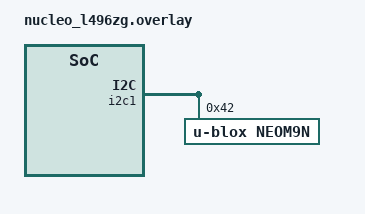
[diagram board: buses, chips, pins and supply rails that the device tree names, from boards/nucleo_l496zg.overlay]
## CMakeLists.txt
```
# SPDX-License-Identifier: Apache-2.0
cmake_minimum_required(VERSION 3.20.0)
find_package(Zephyr REQUIRED HINTS $ENV{ZEPHYR_BASE})

set(ZEPHYR_EXTRA_MODULES
    ${CMAKE_SOURCE_DIR}/../../nrf-sdk/subsys
    ${CMAKE_SOURCE_DIR}/../../nrf-sdk/drivers
)

project(tracker)

include_directories(include)

add_subdirectory(src)
```

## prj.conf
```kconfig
CONFIG_DEBUG=y
CONFIG_CBPRINTF_FP_SUPPORT=y
CONFIG_NEWLIB_LIBC=y
CONFIG_NEWLIB_LIBC_FLOAT_PRINTF=y



# Enable logging over RTT
CONFIG_LOG=y
CONFIG_LOG_CMDS=y
CONFIG_SHELL_LOG_BACKEND=y
CONFIG_SHELL_RTT_INIT_LOG_LEVEL_DBG=y

# Enable shell over RTT
CONFIG_SHELL=y
CONFIG_SHELL_BACKENDS=y
CONFIG_SHELL_TAB=y
CONFIG_USE_SEGGER_RTT=y
CONFIG_SHELL_BACKEND_RTT=y
CONFIG_RTT_CONSOLE=y
CONFIG_UART_CONSOLE=n   
CONFIG_SHELL_LOG_BACKEND=y
CONFIG_SHELL_RTT_INIT_LOG_LEVEL_DBG=y

# RTT configuration
CONFIG_SEGGER_RTT_BUFFER_SIZE_UP=4096
CONFIG_SHELL_BACKEND_SERIAL_RX_RING_BUFFER_SIZE=4096

#################
# Communication configuration
#################
CONFIG_I2C=y

#################
# GNSS configuration
#################
CONFIG_GNSS=y

CONFIG_UBLOX_NEO_M9N=y

#################
# Sensor config 
#################
CONFIG_SENSOR=y
CONFIG_LPS22HB=y
#CONFIG_HTS221=y
CONFIG_CCS811=y
CONFIG_LIS2DH=y
CONFIG_LIS2DH_TRIGGER_GLOBAL_THREAD=y
#################
# DEBUG Config
#################
CONFIG_DEBUG=y
CONFIG_DEBUG_INFO=y
CONFIG_HEAP_MEM_POOL_SIZE=2048

#################
# Counter config 
#################
CONFIG_GPIO=y
CONFIG_COUNTER=y

#################
# Flash config
#################
CONFIG_MAIN_STACK_SIZE=8192

CONFIG_FLASH=y 
CONFIG_FLASH_MAP=y

#################
# Power Mgmt
#################
CONFIG_PM_DEVICE=y
CONFIG_GPIO=y
CONFIG_CRC=y
CONFIG_POWEROFF=y
CONFIG_HWINFO=y




# Enable Bluetooth and controller support

#################
# Enable Bluetooth
#################
CONFIG_BT=y
CONFIG_BT_PERIPHERAL=y
CONFIG_BT_HCI=y
CONFIG_BT_DEVICE_NAME="TrackerNode"
CONFIG_BT_BUF_ACL_RX_SIZE=200
CONFIG_BT_BUF_ACL_TX_SIZE=200
CONFIG_BT_L2CAP_TX_MTU= 71

CONFIG_SYSTEM_WORKQUEUE_STACK_SIZE=2048

#################
# Enable SHA 256 hash usage
#################
CONFIG_CRYPTO=y
CONFIG_TINYCRYPT=y
CONFIG_TINYCRYPT_SHA256=y
```

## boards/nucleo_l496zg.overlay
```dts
&i2c1 {
    status = "okay";

    neom9n: neom9n@42 {
        status = "okay";
        compatible = "u-blox,neom9n";
        label = "NEOM9N";
        reg = <0x42>;
    };
};
```

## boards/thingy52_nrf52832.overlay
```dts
/ {
    aliases {
        rtc2 = &rtc2;
        temp = &hts221;
        pressure = &lps22hb_press;
        gas = &ccs811;
        accel0 = &lis2dh12;
    };
};

&rtc2 {
    label = "RTC_2";
    status = "okay";
    prescaler = <1>;
};

&sx1509b {
    status = "okay";
};

&i2c1 {
    status = "okay";
    compatible = "nordic,nrf-twim";
    neom9n: neom9n@42 {
        status = "okay";
        compatible = "u-blox,neom9n";
        label = "NEOM9N";
        reg = <0x42>;
    };
};
```

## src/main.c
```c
#include <zephyr/device.h>
#include <zephyr/logging/log.h>
#include <zephyr/drivers/sensor.h>
#include <stdio.h>

#include <zephyr/sys/util.h>
#include <zephyr/data/json.h>
#include <stdlib.h>
#include <zephyr/sys/printk.h>
#include <zephyr/drivers/flash.h>
#include <zephyr/storage/flash_map.h>
#include <zephyr/drivers/counter.h>
#include <zephyr/drivers/gpio.h>
#include <zephyr/sys/poweroff.h>
#include <zephyr/drivers/gpio/gpio_sx1509b.h>
#include <zephyr/pm/pm.h>
#include <drivers/gnss/ublox_neo_m9n.h>
#include <zephyr/drivers/hwinfo.h>
#include <zephyr/pm/device.h>
#include <inttypes.h>
#include <zephyr/drivers/i2c.h>
#include <zephyr/drivers/comparator.h>
#include <zephyr/drivers/timer/nrf_grtc_timer.h>

#include <flash.h>
#include <bluetooth.h>
#include <sensors.h>
#include <led.h>
#include <rtc.h>

#define SAMPLE_RATE 500

LOG_MODULE_REGISTER(tracker, LOG_LEVEL_INF);

/*
* Read sensor data out of flash and send it over the established bluetooth connection.
*/
void read_loop(const struct device *flash_dev, uint8_t write_block_size) {

    struct flash_consts flash_vars;
    flash_read(flash_dev, TEST_PARTITION_OFFSET, &flash_vars, sizeof(struct flash_consts));
    struct sensor_blk sensors;
    for (int i = flash_vars.read_size; i < flash_vars.size; i++) {
        flash_read_sensor(flash_dev, write_block_size,  &flash_vars, &sensors);
        // LOG_INF("Read: temp: %u   press: %u    hum: %u    gas: %u    x_accel: %d    y_accel: %d    z_accel: %d", 
        //         sensors.temp, sensors.press, sensors.hum, sensors.gas, sensors.x_accel, sensors.y_accel, sensors.z_accel);
        // LOG_INF("Read: time: %u   uptime: %u    lat: %f   lon: %f   alt: %f\n", 
        //         sensors.time, sensors.uptime, (double)sensors.lat, (double)sensors.lon, (double)sensors.alt);
        pack_sensor_data(&sensors);
    }
    write_consts(flash_dev, write_block_size, flash_vars.size, flash_vars.read_size, flash_vars.head, flash_vars.tail, flash_vars.wrap_around);
    return;
}


/*
* Gather the sensor data and pack it into flash, in a contigous loop, erasing oldest packed structs.
*/
void write_loop(const struct device *flash_dev, uint8_t write_block_size) {
    struct sensor_blk sensors;
    int sat;
    int err;
    uint8_t gnss_retry = 0;
    uint8_t sensor_retry = 0;

sensor_goto:
    k_msleep(200);
    err = read_sensors(&(sensors.temp), &(sensors.hum), &(sensors.press), &(sensors.gas), &(sensors.x_accel), &(sensors.y_accel), &(sensors.z_accel));
    if (err) {
        sensor_retry++;
        if (sensor_retry > 5) {
            LOG_WRN("Too many incorrect attempts at reading sensors.\n");
            sensors.temp = 0;
            sensors.hum = 0;
            sensors.press = 0;
            sensors.gas = 0;
            sensors.x_accel = 0;
            sensors.y_accel = 0;
            sensors.z_accel = 0;
        } else {
            goto sensor_goto;
        }
    }
    err = init_gnss();
gnss_goto:
    k_msleep(1000);
    err |= read_gnss(&(sensors.time), &(sensors.lat), &(sensors.ns), &(sensors.lon), &(sensors.ew), &(sensors.alt), &sat);
    if (err) {
        gnss_retry++;
        if (gnss_retry > 5) {
            // Attempted to gather data several times and was unsuccesful
            LOG_WRN("Too many incorrect attempts at reading gnss.\n");
            sensors.lat = 0;
            sensors.lon = 0;
            sensors.alt = 0;
            sensors.time = 0;
        } else {
            goto gnss_goto;
        }
    }
    sensors.uptime = k_uptime_seconds();
    flash_write_sensor(flash_dev, write_block_size, sensors);
    //LOG_INF("Write: temp: %u   press: %u    hum: %u    gas: %u    x_accel: %d    y_accel: %d    z_accel: %d", 
    //    sensors.temp, sensors.press, sensors.hum, sensors.gas, sensors.x_accel, sensors.y_accel, sensors.z_accel);
    //LOG_INF("Write: time: %u   uptime: %u    lat: %f   lon: %f   alt: %f", 
    //    sensors.time, sensors.uptime, (double)sensors.lat, (double)sensors.lon, (double)sensors.alt);
}

/*
* Initialise and bind all sensors, timers and GPIO devices.
*/
int init_all() {
    int err = 0;

    //const struct device *const cons = DEVICE_DT_GET(DT_CHOSEN(zephyr_console));

    /* BLUETOOTH ADDITIONS*/
    err = init_bluetooth();
    if (err) {
        printk("[TRACKER] Bluetooth init failed\n");
        return -EINVAL;
    }
    /*--------------------*/

    init_rtc();
    init_led();
    bind_sensors();
    err = init_sensors();
    if (err) {
        LOG_WRN("error setting up devices. Shutting down.\n");
        return err;
    }

   err = init_anymotion();
    if (err) {
        LOG_WRN("Failed to setup acceleration trigger!\n");
    }

    set_rtc_tick(1);
    return 0;
}

/*
* Main function loop, enters idle mode (low power) while waiting for interrupts.
*/
int main(void) {

    // Bind flash device.
    const struct device *const cons = DEVICE_DT_GET(DT_CHOSEN(zephyr_console));
    const struct device *flash_dev = TEST_PARTITION_DEVICE;
    struct flash_parameters flash_params;
    memcpy(&flash_params, flash_get_parameters(flash_dev), sizeof(flash_params));
    uint8_t write_block_size = flash_params.write_block_size;
     if (!device_is_ready(flash_dev)) {
		LOG_WRN("Internal storage device not ready\n");
        return EINVAL;
	}

    if (!device_is_ready(cons)) {
		LOG_WRN("%s: device not ready.\n", cons->name);
		return EINVAL;
	}

    int err = init_all();
    if (err) {
        LOG_WRN("Error in init, shutting down");
    }
    // Verify if the there is data in the flash.
    uint8_t buf = 0xFF; 
    flash_read(flash_dev, TEST_PARTITION_OFFSET, &(buf), sizeof(buf));
    LOG_INF("BUFFER %u", buf);
    if (buf == 0xFF) {
        // Flash consts have not been written yet.
        write_init_consts(flash_dev, write_block_size);
    }

   k_msleep(1500);
    while(1) {  
        // Loop occurs on every wakeup from idle or after every occurance
        if (get_rtc_tick()) {
            // Woke from rtc
            red_led();
            write_loop(flash_dev, write_block_size);
            set_rtc_tick(0);
            black_led();

             // Advertising started, ble_tick set on connection (in bluetooth.c file); accessible through get_ble_tick()
            start_advertising();
            //internally sleeps in stop advertising function
            k_msleep(3000);
            //Check that conncetion isn't established
            if (!get_ble_tick()){
                stop_advertising();
            }
        } else if (accel_tick) {
            // Woke from accel
            LOG_WRN("Rapid motion detected!");
            green_led();
            write_loop(flash_dev, write_block_size);
            accel_tick = 0 ;
            black_led();
        } 
        if (get_ble_tick()) {
            LOG_WRN("The bluetooth device has connected!");
            blue_led();
            read_loop(flash_dev, write_block_size);
            black_led();
             // Advertising started, ble_tick set on connection (in bluetooth.c file); accessible through get_ble_tick()
            stop_advertising_and_disconnect();
            /*--------------------*/

        }
        LOG_INF("Napping... zzz...");
        white_led_flash();
        while (!get_rtc_tick() && !accel_tick && !get_ble_tick()) {
            k_cpu_idle(); // truly idle CPU while waiting
        }
    }
}
```

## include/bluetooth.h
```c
#ifndef TRACKER_SERVICE_H
#define TRACKER_SERVICE_H

#include <zephyr/types.h>
#include <zephyr/kernel.h>
#include <zephyr/types.h>
#include <zephyr/sys/printk.h>
#include <zephyr/logging/log.h>
#include <zephyr/net_buf.h>
#include <zephyr/bluetooth/bluetooth.h>
#include <zephyr/bluetooth/conn.h>
#include <zephyr/bluetooth/gatt.h>
#include <zephyr/bluetooth/hci.h>

#include <tinycrypt/sha256.h>
#include <tinycrypt/constants.h>
#include <string.h>

#include <sensors.h>


#define TRACKER_CONTROL_STACK_SIZE 2048
#define TRACKER_CONTROL_PRIORITY 5


extern uint8_t get_ble_tick(void);

extern void set_ble_tick(uint8_t value);

extern void pack_sensor_data(const struct sensor_blk *sensor);

extern int init_bluetooth(void);

extern int start_advertising(void);

extern int stop_advertising(void);

extern int stop_advertising_and_disconnect();

extern void tracker_thread(void);

#endif // TRACKER_SERVICE_H
```

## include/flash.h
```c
#ifndef TRACKER_FLASH_H
#define TRACKER_FLASH_H

#include <zephyr/kernel.h>
#include <zephyr/device.h>
#include <zephyr/logging/log.h>
#include <zephyr/drivers/flash.h>
#include <zephyr/storage/flash_map.h>

#include <sensors.h>

#define TEST_PARTITION	storage_partition
#define TEST_PARTITION_OFFSET FIXED_PARTITION_OFFSET(TEST_PARTITION)
#define TEST_PARTITION_DEVICE FIXED_PARTITION_DEVICE(TEST_PARTITION)

#define FLASH_PAGE_SIZE   4096

struct flash_consts {
    uint32_t size;
    uint32_t read_size;
    uint32_t tail;
    uint32_t head;
    uint8_t wrap_around;
};


struct sensor_blk {
    uint32_t time;
    uint32_t uptime;
    float lat;
    float lon;
    float alt;
    int16_t temp;
    int16_t hum;
    int16_t press;
    int16_t gas;
    int16_t x_accel; 
    int16_t y_accel;
    int16_t z_accel;
    char ns;
    char ew; 
    char padding[28];
};

void write_init_consts(const struct device *flash_dev, uint8_t write_block_size);

void flash_write_sensor(const struct device *flash_dev, uint8_t write_block_size, struct sensor_blk sensors);

void write_consts(const struct device *flash_dev, uint8_t write_block_size, 
    uint32_t size, uint32_t read_size, uint32_t head, uint32_t tail, uint8_t wrap_around);

void flash_read_sensor(const struct device *flash_dev, uint8_t write_block_size,
     struct flash_consts *flash_vars, struct sensor_blk *sensors);
     
#endif
```

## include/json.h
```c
#ifndef JSON_H_
#define JSON_H_

#define JSON_BUFFER_SIZE 352

static const char JSON_FORMAT[] =
"\"payload\":{"
    "\"timestamp\":\"%04d-%02d-%02dT%02d:%02d:%02d\","
    "\"uptime\":\"%u\","
    "\"location\":{"
	"\"latitude\":\"%.7f\","
	"\"ns\":\"%c\","
	"\"longitude\":\"%.7f\","
	"\"ew\":\"%c\","
	"\"altitude_m\":\"%.1f\""
    "},"
    "\"environment\":{"
	"\"temperature_c\":\"%.2f\","
	"\"humidity_percent\":\"%.2f\","
	"\"pressure_hpa\":\"%.1f\","
	"\"gas_ppm\":\"%.2f\""
    "},"
    "\"acceleration\":{"
	"\"x_mps2\":\"%.3f\","
	"\"y_mps2\":\"%.3f\","
	"\"z_mps2\":\"%.3f\""
    "}"
"}";

#endif
```

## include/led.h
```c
#ifndef TRACKER_LED_H
#define TRACKER_LED_H

#include <zephyr/kernel.h>
#include <zephyr/device.h>
#include <stdio.h>
#include <zephyr/drivers/gpio.h>
#include <zephyr/drivers/gpio/gpio_sx1509b.h>

#define LED_MAX 255
#define LED_OFF 0
#define NUMBER_OF_LEDS 3
#define RED_LED DT_GPIO_PIN(DT_NODELABEL(led0), gpios)
#define GREEN_LED DT_GPIO_PIN(DT_NODELABEL(led1), gpios)
#define BLUE_LED DT_GPIO_PIN(DT_NODELABEL(led2), gpios)

static const gpio_pin_t rgb_pins[] = {
	RED_LED,
	GREEN_LED,
	BLUE_LED,
};

void init_led(void);

void set_led(int red, int blue, int green);

void black_led(void);

void red_led(void);

void green_led(void);

void blue_led(void);

void white_led(void);

void white_led_flash(void);

#endif
```

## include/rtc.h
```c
#ifndef TRACKER_RTC_H
#define TRACKER_RTC_H

#include <zephyr/kernel.h>
#include <zephyr/device.h>
#include <stdio.h>
#include <stdlib.h>
#include <zephyr/drivers/counter.h>
#include <zephyr/drivers/gpio.h>


#define ALARM_CHANNEL_ID 0
#define UPDATE 30

uint8_t get_rtc_tick(void);

void set_rtc_tick(int set);

void rtc_interrupt(const struct device *dev, void *user_data);

void init_rtc(void);

#endif
```

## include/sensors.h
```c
#ifndef TRACKER_SENSORS_H
#define TRACKER_SENSORS_H

#include <zephyr/kernel.h>
#include <zephyr/device.h>
#include <zephyr/drivers/sensor.h>
#include <stdio.h>

#include <zephyr/sys/util.h>
#include <stdlib.h>
#include <zephyr/drivers/gpio.h>
#include <zephyr/drivers/gpio/gpio_sx1509b.h>
#include <drivers/gnss/ublox_neo_m9n.h>
#include <zephyr/drivers/hwinfo.h>
#include <inttypes.h>
#include <zephyr/drivers/i2c.h>
#include <zephyr/drivers/comparator.h>
#include <zephyr/drivers/timer/nrf_grtc_timer.h>
#include <flash.h>

#define X_THRESHOLD 2
#define Y_THRESHOLD 2
#define Z_THRESHOLD 10
#define LIS2DH12_NODE DT_NODELABEL(lis2dh12)
#define NEO_SERIAL DT_NODELABEL(neom9n)


extern const struct device *neo_dev;
extern const struct device *pressure;
extern const struct device *humidity;
extern const struct device *evoc;
extern const struct device *accel;

extern uint8_t accel_tick;

// uint8_t get_accel_tick(void);

// void set_accel_tick(int set);

void bind_sensors(void);


int init_anymotion(void);

int init_gnss(void);

int read_gnss(uint32_t *time, 
    float* lat, char *ns, float *lon, char *ew, float *alt, int *sat);

int init_sensors(void);

int read_sensors(int16_t *temp, int16_t *hum, int16_t *press, 
    int16_t *gas, int16_t *x_accel, int16_t *y_accel, int16_t *z_accel);

#endif
```

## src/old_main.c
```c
#include <zephyr/kernel.h>
#include <zephyr/device.h>
#include <zephyr/logging/log.h>

#include <drivers/gnss/ublox_neo_m9n.h>

LOG_MODULE_DECLARE(neom9n, CONFIG_UBLOX_NEO_M9N_LOG_LEVEL);

#define NEO_SERIAL DT_NODELABEL(neom9n)

static const struct device *neo_dev;
static struct neom9n_api *neo_api;

int main(void)
{
    int rc;
    struct time neotime;
    float lat;
    char ns;
    float lon;
    char ew;
    float alt;
    int sat;
    int i = 0;

    neo_dev = DEVICE_DT_GET(NEO_SERIAL);

    if (!device_is_ready(neo_dev)) {
        LOG_ERR("%s Device not ready", neo_dev->name);
        return 0;
    }

    const struct neom9n_config *cfg = neo_dev->config;

    LOG_DBG("%s", cfg->i2c_dev->name);

    neo_api = (struct neom9n_api *) neo_dev->api;

    neo_api->cfg_nav5(neo_dev, Stationary, P_2D, 0, 1, 5, 100, 100, 100, 350, 0, 60, 0, 0, 0,
              AutoUTC);
    neo_api->cfg_gnss(neo_dev, 0, 32, 5, 0, 8, 16, 0, 0x01010001, 1, 1, 3, 0, 0x01010001, 3, 8,
              16, 0, 0x01010000, 5, 0, 3, 0, 0x01010001, 6, 8, 14, 0, 0x01010001);
    neo_api->cfg_msg(neo_dev, NMEA_DTM, 0);
    neo_api->cfg_msg(neo_dev, NMEA_GBQ, 0);
    neo_api->cfg_msg(neo_dev, NMEA_GBS, 0);
    neo_api->cfg_msg(neo_dev, NMEA_GLL, 0);
    neo_api->cfg_msg(neo_dev, NMEA_GLQ, 0);
    neo_api->cfg_msg(neo_dev, NMEA_GNQ, 0);
    neo_api->cfg_msg(neo_dev, NMEA_GNS, 0);
    neo_api->cfg_msg(neo_dev, NMEA_GPQ, 0);
    neo_api->cfg_msg(neo_dev, NMEA_GRS, 0);
    neo_api->cfg_msg(neo_dev, NMEA_GSA, 0);
    neo_api->cfg_msg(neo_dev, NMEA_GST, 0);
    neo_api->cfg_msg(neo_dev, NMEA_GSV, 0);
    neo_api->cfg_msg(neo_dev, NMEA_RMC, 0);
    neo_api->cfg_msg(neo_dev, NMEA_THS, 0);
    neo_api->cfg_msg(neo_dev, NMEA_TXT, 0);
    neo_api->cfg_msg(neo_dev, NMEA_VLW, 0);
    neo_api->cfg_msg(neo_dev, NMEA_VTG, 0);
    neo_api->cfg_msg(neo_dev, NMEA_ZDA, 0);

    while (1) {
        rc = neo_api->fetch_data(neo_dev);
        if (rc) {
            LOG_ERR("HERE: Error %d while reading data", rc);
            return 0;
        }

        if (i++ == 1000) {
            i = 0;

            neo_api->get_time(neo_dev, &neotime);
            neo_api->get_latitude(neo_dev, &lat);
            neo_api->get_ns(neo_dev, &ns);
            neo_api->get_longitude(neo_dev, &lon);
            neo_api->get_ew(neo_dev, &ew);
            neo_api->get_altitude(neo_dev, &alt);
            neo_api->get_satellites(neo_dev, &sat);

            LOG_INF("Hour: %d\n\r", neotime.hour);
            LOG_INF("Minute: %d\n\r", neotime.min);
            LOG_INF("Second: %d\n\r", neotime.sec);
            LOG_INF("Latitude: %.5f\n\r", (double) lat);
            LOG_INF("North/South: %c\n\r", ns);
            LOG_INF("Longitude: %.5f\n\r", (double) lon);
            LOG_INF("East/West: %c\n\r", ew);
            LOG_INF("Altitude: %.2f\n\r", (double) alt);
            LOG_INF("Satellites: %d\n\r\n\r", sat);
        }
    }
}
```

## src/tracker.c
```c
#include <zephyr/kernel.h>
#include <zephyr/device.h>
#include <zephyr/logging/log.h>
#include <zephyr/drivers/sensor.h>
#include <stdio.h>
#include <zephyr/sys/util.h>
#include <zephyr/data/json.h>
#include <stdlib.h>
#include <zephyr/sys/printk.h>
#include <zephyr/drivers/flash.h>
#include <zephyr/storage/flash_map.h>
#include <zephyr/drivers/counter.h>
#include <zephyr/drivers/gpio.h>
#include <zephyr/drivers/gpio/gpio_sx1509b.h>
#include <drivers/gnss/ublox_neo_m9n.h>
#include <zephyr/pm/pm.h>


#define MAX_SAMPLES 10
#define TEST_PARTITION	storage_partition
#define TEST_PARTITION_OFFSET FIXED_PARTITION_OFFSET(TEST_PARTITION)
#define TEST_PARTITION_DEVICE FIXED_PARTITION_DEVICE(TEST_PARTITION)

#define FLASH_PAGE_SIZE   4096

#define NEO_SERIAL DT_NODELABEL(neom9n)


#define LED_MAX 255
#define LED_OFF 0
#define NUMBER_OF_LEDS 3
#define GREEN_LED DT_GPIO_PIN(DT_NODELABEL(led0), gpios)
#define BLUE_LED DT_GPIO_PIN(DT_NODELABEL(led1), gpios)
#define RED_LED DT_GPIO_PIN(DT_NODELABEL(led2), gpios)

static const gpio_pin_t rgb_pins[] = {
	RED_LED,
	GREEN_LED,
	BLUE_LED,
};

const struct device *sx1509b_dev;

#define ALARM_CHANNEL_ID 0
#define UPDATE 20000// Update window (interrupts)
#define SAMPLE_RATE 1000 // Time between samples grabbed in a row while awake
LOG_MODULE_REGISTER(tracker, LOG_LEVEL_INF);

struct counter_top_cfg ctr_top;

const struct device *const rtc_2 = DEVICE_DT_GET(DT_ALIAS(rtc2));


struct sensor_blk {
    uint8_t hour;
    uint8_t minute;
    uint8_t second;
    float lat;
    char ns;
    float lon;
    char ew;
    float alt; 
    int sat;
    double temp;
    double hum;
    double press;
    double gas;
    double x_accel; 
    double y_accel;
    double z_accel;
};


static struct neom9n_api *neo_api;

const struct device *neo_dev;
const struct device *pressure;
const struct device *humidity;
const struct device *evoc;
const struct device *accel;

// TODO: set rtc_wakeup to 0 on ble interupt, ble wakeup to 1 on ble interrupt
// TODO: send data in read_loop over bluetooth. 
static int rtc_wakeup;
static int ble_wakeup;

void rtc_interrupt(const struct device *dev, void *user_data) {
    ARG_UNUSED(dev);
    ARG_UNUSED(user_data);
    rtc_wakeup = 1;
    ble_wakeup = 0;
}

void init_rtc(void) {
    ctr_top.ticks = counter_us_to_ticks(rtc_2, UPDATE);
    ctr_top.user_data = &ctr_top;
    ctr_top.callback = rtc_interrupt;
    ctr_top.flags = 0;
    counter_set_top_value(rtc_2, &ctr_top);
    counter_start(rtc_2);
}



/*
* Returns 0 if exited correctly
*/
int init_sensors(void) {

    

    if (!device_is_ready(pressure)) { 
        return -EINVAL;
    }
    if (!device_is_ready(humidity)) { 
        return -EINVAL;
    }
    if (!device_is_ready(evoc)) { 
        return -EINVAL;
    }
    if (!device_is_ready(accel)) { 
        return -EINVAL;
    }
    return 0;
}

int init_gnss(void) { 

    if (!device_is_ready(neo_dev)) {
        return -EINVAL;
    }
    neo_api = (struct neom9n_api *) neo_dev->api;

    neo_api->cfg_nav5(neo_dev, Stationary, P_2D, 0, 1, 5, 100, 100, 100, 350, 0, 60, 0, 0, 0,
              AutoUTC);
    neo_api->cfg_gnss(neo_dev, 0, 32, 5, 0, 8, 16, 0, 0x01010001, 1, 1, 3, 0, 0x01010001, 3, 8,
              16, 0, 0x01010000, 5, 0, 3, 0, 0x01010001, 6, 8, 14, 0, 0x01010001);
    neo_api->cfg_msg(neo_dev, NMEA_DTM, 0);
    neo_api->cfg_msg(neo_dev, NMEA_GBQ, 0);
    neo_api->cfg_msg(neo_dev, NMEA_GBS, 0);
    neo_api->cfg_msg(neo_dev, NMEA_GLL, 0);
    neo_api->cfg_msg(neo_dev, NMEA_GLQ, 0);
    neo_api->cfg_msg(neo_dev, NMEA_GNQ, 0);
    neo_api->cfg_msg(neo_dev, NMEA_GNS, 0);
    neo_api->cfg_msg(neo_dev, NMEA_GPQ, 0);
    neo_api->cfg_msg(neo_dev, NMEA_GRS, 0);
    neo_api->cfg_msg(neo_dev, NMEA_GSA, 0);
    neo_api->cfg_msg(neo_dev, NMEA_GST, 0);
    neo_api->cfg_msg(neo_dev, NMEA_GSV, 0);
    neo_api->cfg_msg(neo_dev, NMEA_RMC, 0);
    neo_api->cfg_msg(neo_dev, NMEA_THS, 0);
    neo_api->cfg_msg(neo_dev, NMEA_TXT, 0);
    neo_api->cfg_msg(neo_dev, NMEA_VLW, 0);
    neo_api->cfg_msg(neo_dev, NMEA_VTG, 0);
    neo_api->cfg_msg(neo_dev, NMEA_ZDA, 0);
    return 0;
}

void read_gnss(struct time *neotime, 
    float* lat, char *ns, float *lon, char *ew, float *alt, int *sat) {

            neo_api->get_time(neo_dev, neotime);
            neo_api->get_latitude(neo_dev, lat);
            neo_api->get_ns(neo_dev, ns);
            neo_api->get_longitude(neo_dev, lon);
            neo_api->get_ew(neo_dev, ew);
            neo_api->get_altitude(neo_dev, alt);
            neo_api->get_satellites(neo_dev, sat);
}

int read_sensors(double *temp, double *hum, double *press, 
    double *gas, double *x_accel, double *y_accel, double *z_accel) {
    
    struct sensor_value gas_raw;
    struct sensor_value temp_raw;
    struct sensor_value pressure_raw;
    struct sensor_value hum_raw;
    struct sensor_value x_raw;
    struct sensor_value y_raw;
    struct sensor_value z_raw;

    if (sensor_sample_fetch(humidity) < 0) {
        // Sample update error
        return -EIO;
    }
    if (sensor_sample_fetch(pressure) < 0) {
        // Sample update error
        return -EIO;
    }
    if (sensor_sample_fetch(evoc) < 0) {
        // Sample update error
        return -EIO;
    }
    if (sensor_sample_fetch(accel) < 0) {
        // Sample update error
        return -EIO;
    }

    if (sensor_channel_get(humidity, SENSOR_CHAN_HUMIDITY, &hum_raw) < 0) {
        // humidity channel reading error
        return -EIO;
    }
    if (sensor_channel_get(pressure, SENSOR_CHAN_PRESS, &pressure_raw) < 0) {
        // pressure channel reading error
        return -EIO;
    }
    if (sensor_channel_get(pressure, SENSOR_CHAN_AMBIENT_TEMP, &temp_raw) < 0) {
        // temperature channel reading error
        return -EIO;
    }
    if (sensor_channel_get(evoc, SENSOR_CHAN_VOC, &gas_raw) < 0) {
        // pressure channel reading error
        return -EIO;
    }

    if (sensor_channel_get(accel, SENSOR_CHAN_ACCEL_X, &x_raw) < 0 ||
        sensor_channel_get(accel, SENSOR_CHAN_ACCEL_Y, &y_raw) < 0 ||
        sensor_channel_get(accel, SENSOR_CHAN_ACCEL_Z, &z_raw) < 0) {
        return -EIO;
    }

    *x_accel = sensor_value_to_double(&x_raw);
    *y_accel = sensor_value_to_double(&y_raw);
    *z_accel = sensor_value_to_double(&z_raw);

    *hum = sensor_value_to_double(&hum_raw);
    *temp = sensor_value_to_double(&temp_raw);
    *press = sensor_value_to_double(&pressure_raw);
    *gas = sensor_value_to_double(&gas_raw);
}


void write_to_flash(const struct device *flash_dev, struct sensor_blk sensors, uint32_t size, off_t offset) { 
    flash_write(flash_dev, offset, &sensors, sizeof(sensors));
}


int read_loop(const struct device *flash_dev) {
    // Triggered from bluetooth wakeup
    uint32_t size = 0;
    uint32_t offset = 0 + sizeof(int);
    flash_read(flash_dev, 0, &size, sizeof(int));
    struct sensor_blk sensors;
    // Unpacks data since last bluetooth grab
    // Im blue dabadeebadubah
    sx1509b_led_intensity_pin_set(sx1509b_dev, RED_LED, LED_OFF);
    sx1509b_led_intensity_pin_set(sx1509b_dev, BLUE_LED, LED_MAX);
    sx1509b_led_intensity_pin_set(sx1509b_dev, GREEN_LED, LED_OFF);
    for (int i = 0; i < size; i++) {

        // read out single struct of data
        flash_read(flash_dev, offset, &sensors, sizeof(sensors));
        offset += sizeof(sensors);
        LOG_DBG("Sensor data read...");
        // TODO: send sensors struct over bluetooth
    }
    sx1509b_led_intensity_pin_set(sx1509b_dev, RED_LED, LED_OFF);
    sx1509b_led_intensity_pin_set(sx1509b_dev, BLUE_LED, LED_OFF);
    sx1509b_led_intensity_pin_set(sx1509b_dev, GREEN_LED, LED_OFF);
}


void write_loop(const struct device *flash_dev) {
    struct time neotime;
    int sat;
    struct sensor_blk sensors;
    uint32_t size = 0;
    flash_read(flash_dev, 0, &size, sizeof(int));
    uint32_t offset = sizeof(int) + ((size) * (sizeof(sensors)));
    // Im red like roses
    sx1509b_led_intensity_pin_set(sx1509b_dev, RED_LED, LED_MAX);
    sx1509b_led_intensity_pin_set(sx1509b_dev, BLUE_LED, LED_OFF);
    sx1509b_led_intensity_pin_set(sx1509b_dev, GREEN_LED, LED_OFF);
    for (int i = 0; i < MAX_SAMPLES; i++) {
        // Sleep for some time before grabbing more data
        k_msleep(SAMPLE_RATE);
        read_gnss(&neotime, &(sensors.lat), &(sensors.ns), &(sensors.lon), &(sensors.ew), &(sensors.alt), &sat);
        read_sensors(&(sensors.temp), &(sensors.hum), &(sensors.press), &(sensors.gas), &(sensors.x_accel), &(sensors.y_accel), &(sensors.z_accel));
        sensors.hour = neotime.hour;
        sensors.minute = neotime.minute;
        sensors.second = neotime.second;
        size++;
        write_to_flash(flash_dev, sensors, size, offset);
        offset += sizeof(sensors);
        LOG_DBG("Sensor data written");
    }
    flash_erase(flash_dev, 0, sizeof(size));
    flash_write(flash_dev, 0, &size, sizeof(size));
    sx1509b_led_intensity_pin_set(sx1509b_dev, RED_LED, LED_OFF);
    sx1509b_led_intensity_pin_set(sx1509b_dev, BLUE_LED, LED_OFF);
    sx1509b_led_intensity_pin_set(sx1509b_dev, GREEN_LED, LED_OFF);
    return;
}

void led_flash(int32_t time) {
    sx1509b_led_intensity_pin_set(sx1509b_dev, RED_LED, LED_MAX);
    sx1509b_led_intensity_pin_set(sx1509b_dev, BLUE_LED, LED_MAX);
    sx1509b_led_intensity_pin_set(sx1509b_dev, GREEN_LED, LED_MAX);
    k_msleep(time);
    sx1509b_led_intensity_pin_set(sx1509b_dev, RED_LED, LED_OFF);
    sx1509b_led_intensity_pin_set(sx1509b_dev, BLUE_LED, LED_OFF);
    sx1509b_led_intensity_pin_set(sx1509b_dev, GREEN_LED, LED_OFF);
}

int main(void) { 
    init_rtc();
    const struct device *flash_dev = TEST_PARTITION_DEVICE;
    struct flash_parameters flash_params;
    memcpy(&flash_params, flash_get_parameters(flash_dev), sizeof(flash_params));
    int err = 0;
    if (!device_is_ready(flash_dev)) {
		printf("Internal storage device not ready\n");
        return EINVAL;
	}

    sx1509b_dev = DEVICE_DT_GET(DT_NODELABEL(sx1509b));
    // Setup led
	if (!device_is_ready(sx1509b_dev)) {
		printk("sx1509b: device not ready.\n");
	}
    for (int i = 0; i < NUMBER_OF_LEDS; i++) {
		err = sx1509b_led_intensity_pin_configure(sx1509b_dev,
							  rgb_pins[i]);

		if (err) {
			LOG_DBG("Error configuring pin for LED intensity\n");
		}
    }
    neo_dev = DEVICE_DT_GET(NEO_SERIAL);
    pressure = DEVICE_DT_GET_ONE(st_lps22hb_press);
    humidity = DEVICE_DT_GET_ONE(st_hts221);
    evoc = DEVICE_DT_GET_ONE(ams_ccs811);
    accel = DEVICE_DT_GET_ONE(st_lis2dh12);
    err = init_sensors();
    err |= init_gnss();
    if (err) {
        return err;
    }
    write_loop(flash_dev);
    while(1) {
        // Loop occurs on every wakeup from idle or after every occurance
        if (rtc_wakeup) {
            write_loop(flash_dev);
            rtc_wakeup = 0;
        } else if (ble_wakeup) {
            read_loop(flash_dev);
            ble_wakeup = 0; 
        } else {
            // epilepsy check
            int32_t time_flashing = 200; 
            LOG_DBG("Idling thingy52... zzz...");
            for (int i = 1; i < 3; i++) {
                led_flash(time_flashing * i);
            }
            pm_state_force(0, &(struct pm_state_info){
                .state = PM_STATE_SUSPEND_TO_IDLE,
                .substate_id = 0
            });
            k_cpu_idle();
        }
    }
}
```
